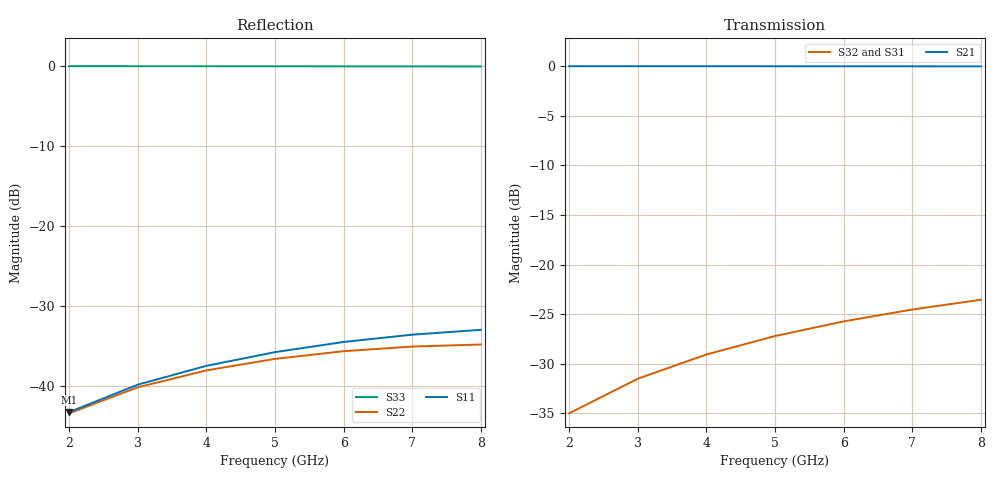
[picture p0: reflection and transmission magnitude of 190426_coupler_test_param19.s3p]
! Sonnet Data File
! From: emgraph Version : 16.56
! From Project: 190426_coupler_test
! Data is De-embedded
! Data File Written: 05/06/2019 15:59:44
!< HDATE 04/25/2019 10:48:44
!< MDATE 04/25/2019 10:59:35
!< PARAMS
!< tandelta = 0.0
!< t_aSi = 0.25
!< W = 10.0
!< Lcoupler = 1800.0
!< END PARAMS
# GHZ S MA R 50.0 !  non standard terminations in data
! TERM 50.00000 0.000000 50.00000 0.000000 63.84000 0.000000
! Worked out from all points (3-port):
!   7 points, 2 GHz to 8 GHz, reference 50 ohm
!   strongest paths, dB at 2 GHz, 3 GHz, 5 GHz, 7 GHz, 8 GHz:
!     S21: 0.0, 0.0, 0.0, 0.0, 0.0
!     S32: -35.0, -31.5, -27.2, -24.5, -23.6
!     S31: -35.0, -31.6, -27.3, -24.7, -23.7
!   lowest |S11| = -43.3 dB at 2 GHz (marker M1), VSWR 1.01, Z = 50.3 + j0.637 ohm
!   |S11| at or under -10 dB: start of sweep to end of sweep
2  0.006854 67.6  0.9998 -21.7  0.01773 54.3
   0.9998 -21.7  0.006735 71.4  0.01777 78.2
   0.01773 54.3  0.01777 78.2  0.9997 -26.1
3  0.01018 56.1  0.9996 -32.5  0.02641 36.5
   0.9996 -32.5  0.009795 62.2  0.02655 72.3
   0.02641 36.5  0.02655 72.3  0.9993 -39.2
4  0.01334 44.2  0.9993 -43.4  0.03488 18.6
   0.9993 -43.4  0.0125 53.0  0.03519 66.3
   0.03488 18.6  0.03519 66.3  0.9988 -52.3
5  0.01626 31.7  0.9989 -54.2  0.04305 0.7
   0.9989 -54.2  0.01475 44.0  0.04359 60.1
   0.04305 0.7  0.04359 60.1  0.9981 -65.4
6  0.01882 18.7  0.9985 -65.1  0.05086 -17.1
   0.9985 -65.1  0.01648 35.1  0.05166 53.9
   0.05086 -17.1  0.05166 53.9  0.9974 -78.6
7  0.02091 5.0  0.9981 -75.9  0.05823 -35.0
   0.9981 -75.9  0.01762 26.4  0.05931 47.7
   0.05823 -35.0  0.05931 47.7  0.9965 -91.8
8  0.02242 -9.4  0.9976 -86.7  0.06509 -52.9
   0.9976 -86.7  0.01815 18.0  0.06641 41.3
   0.06509 -52.9  0.06641 41.3  0.9957 -105.1
